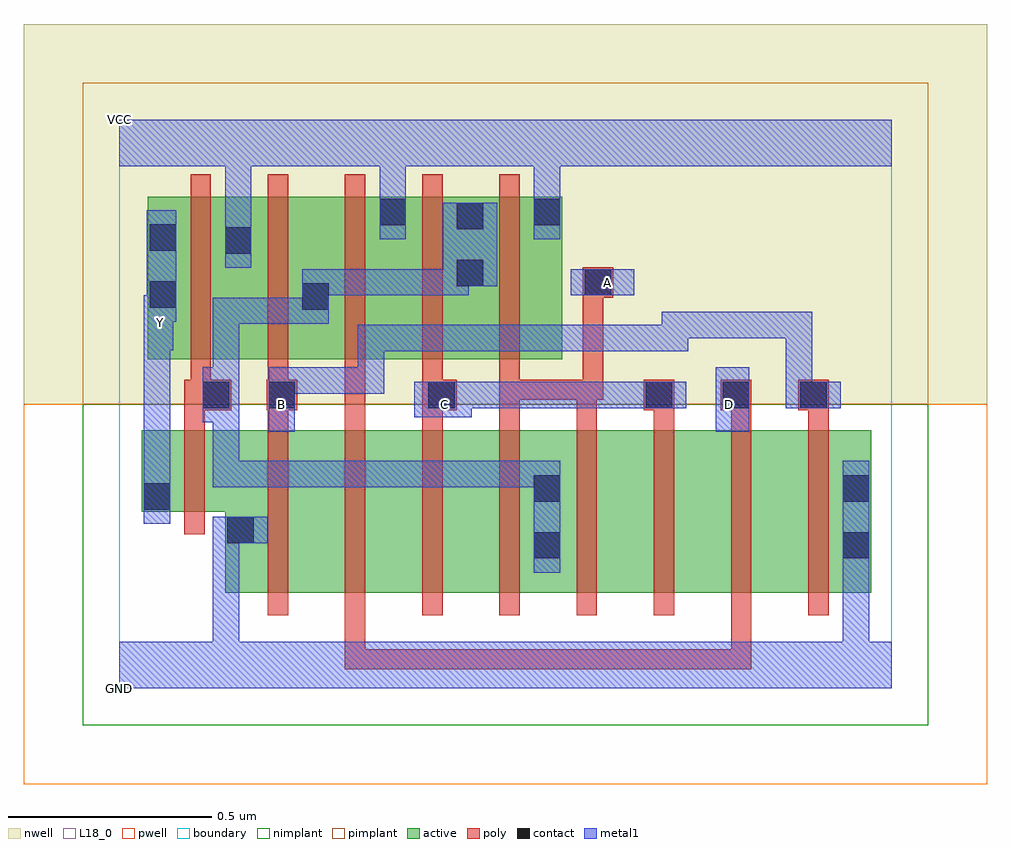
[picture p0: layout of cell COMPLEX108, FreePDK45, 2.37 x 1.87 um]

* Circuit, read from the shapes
.subckt COMPLEX108 A B C D GND VCC Y
M1 GND n1 Y VSUBS nfet w=0.2u l=0.05u
M2 n2 B GND VSUBS nfet w=0.4u l=0.05u
M3 n3 D n2 VSUBS nfet w=0.4u l=0.05u
M4 n4 C n3 VSUBS nfet w=0.4u l=0.05u
M5 n1 A n4 VSUBS nfet w=0.4u l=0.05u
M6 n5 A n1 VSUBS nfet w=0.4u l=0.05u
M7 n6 C n5 VSUBS nfet w=0.4u l=0.05u
M8 n7 D n6 VSUBS nfet w=0.4u l=0.05u
M9 GND B n7 VSUBS nfet w=0.4u l=0.05u
M10 VCC n1 Y n8 pfet w=0.4u l=0.05u
M11 n1 B VCC n8 pfet w=0.4u l=0.05u
M12 VCC D n1 n8 pfet w=0.4u l=0.05u
M13 n1 C VCC n8 pfet w=0.4u l=0.05u
M14 VCC A n1 n8 pfet w=0.4u l=0.05u
.ends

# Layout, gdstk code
import gdstk
lib = gdstk.Library(unit=1e-6, precision=1e-09)
def R(c, l, rs):  # rectangles x0, y0, x1, y1
    for r in rs: c.add(gdstk.rectangle(r[:2], r[2:], *l))
def A(c, l, x, y, w, h, nx, ny, dx, dy):  # array of equal rectangles
    R(c, l, [(x+i*dx, y+j*dy, x+i*dx+w, y+j*dy+h) for i in range(nx) for j in range(ny)])
active = (1, 0)
pwell = (2, 0)
nwell = (3, 0)
nimplant = (4, 0)
pimplant = (5, 0)
poly = (9, 0)
contact = (10, 0)
metal1 = (11, 0)
L18_0 = (18, 0)
boundary = (235, 0)

complex108 = lib.new_cell('COMPLEX108')
A(complex108, active, 0.255, 0.81, 0.265, 0.4, 4, 1, 0.19, 0)
R(complex108, active, [(0.26,0.235,0.485,0.635), (0.26,0.235,0.335,0.597), (0.485,0.235,0.675,0.635), (0.675,0.235,0.865,0.635), (0.865,0.235,1.09,0.635), (1.015,0.235,1.245,0.635), (1.015,0.235,1.09,0.617), (1.245,0.235,1.435,0.635), (1.435,0.235,1.625,0.635), (1.625,0.235,1.85,0.635), (1.775,0.245,1.85,0.635), (0.055,0.435,0.335,0.635), (0.055,0.435,0.13,0.635), (0.07,0.81,0.145,1.2), (0.07,0.81,0.33,1.21), (0.445,0.81,0.52,1.155), (1.015,0.81,1.09,1.21), (0.255,0.907,0.33,1.155), (0.635,0.907,0.71,1.21), (0.825,0.907,0.9,1.2)])
R(complex108, pwell, [(-0.235,-0.235,2.135,0.7)])
R(complex108, nwell, [(-0.235,0.7,2.135,1.635)])
R(complex108, nimplant, [(-0.09,-0.09,1.99,0.7)])
R(complex108, pimplant, [(-0.09,0.7,1.99,1.49)])
A(complex108, poly, 0.365, 0.18, 0.05, 0.51, 8, 1, 0.19, 0)
A(complex108, poly, 1.315, 0.64, 0.05, 0.095, 3, 1, 0.19, 0)
A(complex108, poly, 1.29, 0.685, 0.075, 0.075, 3, 1, 0.19, 0)
A(complex108, poly, 0.175, 0.71, 0.05, 0.095, 5, 1, 0.19, 0)
A(complex108, poly, 0.175, 0.755, 0.05, 0.51, 5, 1, 0.19, 0)
R(complex108, poly, [(0.555,0.047,0.605,0.23), (0.555,0.047,0.605,0.097), (0.555,0.047,0.605,0.097), (0.555,0.047,0.605,0.097), (0.555,0.047,0.83,0.097), (0.78,0.047,0.83,0.097), (0.78,0.047,0.83,0.097), (0.78,0.047,0.83,0.097), (0.78,0.047,0.962,0.097), (0.912,0.047,0.962,0.097), (0.912,0.047,0.962,0.097), (0.912,0.047,0.962,0.097), (0.912,0.047,1.207,0.097), (1.157,0.047,1.207,0.097), (1.157,0.047,1.207,0.097), (1.157,0.047,1.207,0.097), (1.157,0.047,1.397,0.097), (1.347,0.047,1.397,0.097), (1.347,0.047,1.555,0.097), (1.505,0.047,1.555,0.23), (1.505,0.047,1.555,0.097), (1.505,0.047,1.555,0.097), (1.505,0.047,1.555,0.097), (0.16,0.38,0.21,0.69), (0.16,0.64,0.21,0.735), (0.365,0.64,0.415,0.735), (0.555,0.64,0.605,0.76), (0.745,0.64,0.795,0.735), (0.935,0.64,0.985,0.76), (1.125,0.64,1.175,0.76), (0.16,0.685,0.275,0.76), (0.362,0.685,0.437,0.76), (0.745,0.685,0.83,0.76), (0.555,0.71,0.605,0.76), (0.935,0.71,0.985,0.76), (0.935,0.71,0.985,0.76), (0.935,0.71,0.985,0.76), (0.935,0.71,1.175,0.76), (1.125,0.71,1.19,0.76), (1.14,0.71,1.19,1.012), (1.14,0.962,1.215,1.037), (1.14,0.962,1.19,1.012), (1.14,0.962,1.19,1.012)])
A(complex108, contact, 1.295, 0.69, 0.065, 0.065, 3, 1, 0.19, 0)
R(complex108, contact, [(1.02,0.32,1.085,0.385), (1.78,0.32,1.845,0.385), (0.265,0.357,0.33,0.422), (0.06,0.44,0.125,0.505), (1.02,0.46,1.085,0.525), (1.78,0.46,1.845,0.525), (0.205,0.69,0.27,0.755), (0.367,0.69,0.432,0.755), (0.76,0.69,0.825,0.755), (0.45,0.932,0.515,0.997), (0.075,0.937,0.14,1.002), (1.145,0.967,1.21,1.032), (0.83,0.99,0.895,1.055), (0.26,1.07,0.325,1.135), (0.075,1.077,0.14,1.142), (0.83,1.13,0.895,1.195), (0.64,1.14,0.705,1.205), (1.02,1.14,1.085,1.205)])
R(complex108, metal1, [(0,0,1.9,0.115), (0.23,0.05,0.295,0.422), (1.78,0.05,1.845,0.35), (1.78,0.05,1.845,0.115), (1.78,0.05,1.845,0.115), (1.02,0.285,1.085,0.56), (1.78,0.285,1.845,0.56), (0.23,0.357,0.295,0.422), (0.23,0.357,0.295,0.422), (0.23,0.357,0.365,0.422), (0.06,0.405,0.125,0.54), (0.06,0.475,0.125,0.897), (0.23,0.495,0.295,0.56), (0.23,0.495,0.432,0.56), (0.23,0.495,0.295,0.72), (0.367,0.495,0.432,0.56), (0.367,0.495,0.432,0.56), (0.367,0.495,0.432,0.56), (0.367,0.495,0.652,0.56), (0.587,0.495,0.652,0.56), (0.587,0.495,0.652,0.56), (0.587,0.495,0.652,0.56), (0.587,0.495,0.9,0.56), (0.835,0.495,0.9,0.56), (0.835,0.495,0.9,0.56), (0.835,0.495,0.9,0.56), (0.835,0.495,1.037,0.56), (0.972,0.495,1.037,0.56), (0.972,0.495,1.085,0.56), (0.367,0.632,0.432,0.79), (1.467,0.632,1.55,0.79), (0.205,0.655,0.27,0.79), (0.205,0.655,0.295,0.72), (0.23,0.655,0.295,0.72), (0.23,0.655,0.295,0.962), (0.725,0.667,0.867,0.755), (0.802,0.69,0.867,0.755), (0.802,0.69,0.867,0.755), (0.802,0.69,1.037,0.755), (0.972,0.69,1.037,0.755), (0.972,0.69,1.037,0.755), (0.972,0.69,1.037,0.755), (0.972,0.69,1.187,0.755), (1.122,0.69,1.187,0.755), (1.122,0.69,1.187,0.755), (1.122,0.69,1.187,0.755), (1.122,0.69,1.325,0.755), (1.26,0.69,1.395,0.755), (1.64,0.69,1.705,0.755), (1.64,0.69,1.705,0.755), (1.64,0.69,1.775,0.755), (1.64,0.69,1.705,0.927), (0.367,0.725,0.432,0.79), (0.367,0.725,0.432,0.79), (0.367,0.725,0.652,0.79), (0.587,0.725,0.652,0.79), (0.587,0.725,0.652,0.79), (0.587,0.725,0.652,0.79), (0.587,0.725,0.652,0.895), (0.587,0.83,0.652,0.895), (0.587,0.83,0.79,0.895), (0.725,0.83,0.79,0.895), (0.725,0.83,0.79,0.895), (0.725,0.83,0.79,0.895), (0.725,0.83,1.037,0.895), (0.972,0.83,1.037,0.895), (0.972,0.83,1.037,0.895), (0.972,0.83,1.037,0.895), (0.972,0.83,1.175,0.895), (1.11,0.83,1.175,0.895), (1.11,0.83,1.175,0.895), (1.11,0.83,1.175,0.895), (1.11,0.83,1.4,0.895), (1.335,0.83,1.4,0.927), (0.06,0.832,0.132,0.967), (1.335,0.862,1.537,0.927), (1.472,0.862,1.537,0.927), (1.472,0.862,1.537,0.927), (1.472,0.862,1.537,0.927), (1.472,0.862,1.705,0.927), (1.64,0.862,1.705,0.927), (0.23,0.897,0.295,0.962), (0.23,0.897,0.515,0.962), (0.45,0.897,0.515,0.962), (0.45,0.897,0.515,0.962), (0.45,0.897,0.515,1.032), (0.067,0.902,0.132,0.967), (0.067,0.902,0.14,1.177), (0.45,0.967,0.515,1.032), (0.45,0.967,0.515,1.032), (0.45,0.967,0.652,1.032), (0.587,0.967,0.652,1.032), (0.587,0.967,0.652,1.032), (0.587,0.967,0.652,1.032), (0.587,0.967,0.86,1.032), (0.795,0.967,0.86,1.055), (1.11,0.967,1.267,1.032), (0.795,0.99,0.86,1.055), (0.795,0.99,0.93,1.195), (0.26,1.035,0.325,1.17), (0.26,1.105,0.325,1.35), (0.64,1.105,0.705,1.24), (1.02,1.105,1.085,1.24), (0.64,1.175,0.705,1.35), (1.02,1.175,1.085,1.35), (0,1.285,1.9,1.4)])
R(complex108, L18_0, [(0,0,1.9,0.115), (0.23,0.05,0.295,0.422), (1.78,0.05,1.845,0.115), (1.78,0.05,1.845,0.115), (1.78,0.05,1.845,0.35), (1.78,0.285,1.845,0.56), (0.23,0.357,0.295,0.422), (0.23,0.357,0.295,0.422), (0.23,0.357,0.365,0.422), (0.06,0.405,0.125,0.54), (0.06,0.475,0.125,0.897), (0.367,0.632,0.432,0.79), (1.467,0.632,1.55,0.79), (0.367,0.667,0.432,0.732), (0.725,0.667,0.867,0.755), (0.767,0.667,0.832,0.732), (1.467,0.667,1.532,0.732), (0.802,0.69,0.867,0.755), (0.802,0.69,0.867,0.755), (0.802,0.69,1.037,0.755), (0.972,0.69,1.037,0.755), (0.972,0.69,1.037,0.755), (0.972,0.69,1.037,0.755), (0.972,0.69,1.187,0.755), (1.122,0.69,1.187,0.755), (1.122,0.69,1.187,0.755), (1.122,0.69,1.187,0.755), (1.122,0.69,1.325,0.755), (1.26,0.69,1.395,0.755), (1.64,0.69,1.705,0.755), (1.64,0.69,1.705,0.755), (1.64,0.69,1.775,0.755), (1.64,0.69,1.705,0.927), (0.367,0.725,0.432,0.79), (0.367,0.725,0.432,0.79), (0.367,0.725,0.652,0.79), (0.587,0.725,0.652,0.79), (0.587,0.725,0.652,0.79), (0.587,0.725,0.652,0.79), (0.587,0.725,0.652,0.895), (0.587,0.83,0.652,0.895), (0.587,0.83,0.79,0.895), (0.725,0.83,0.79,0.895), (0.725,0.83,0.79,0.895), (0.725,0.83,0.79,0.895), (0.725,0.83,1.037,0.895), (0.972,0.83,1.037,0.895), (0.972,0.83,1.037,0.895), (0.972,0.83,1.037,0.895), (0.972,0.83,1.175,0.895), (1.11,0.83,1.175,0.895), (1.11,0.83,1.175,0.895), (1.11,0.83,1.175,0.895), (1.11,0.83,1.4,0.895), (1.335,0.83,1.4,0.927), (0.06,0.832,0.132,0.967), (1.335,0.862,1.537,0.927), (1.472,0.862,1.537,0.927), (1.472,0.862,1.537,0.927), (1.472,0.862,1.537,0.927), (1.472,0.862,1.705,0.927), (1.64,0.862,1.705,0.927), (0.067,0.867,0.132,0.932), (0.067,0.902,0.14,1.177), (0.067,0.902,0.132,0.967), (1.11,0.967,1.267,1.032), (1.167,0.967,1.232,1.032), (0.26,1.035,0.325,1.17), (0.26,1.105,0.325,1.35), (0.64,1.105,0.705,1.24), (1.02,1.105,1.085,1.24), (0.64,1.175,0.705,1.35), (1.02,1.175,1.085,1.35), (0,1.285,1.9,1.4)])
R(complex108, boundary, [(0,0,1.9,1.4)])
complex108.add(gdstk.Label('A', (1.2,1), layer=11, texttype=0))
complex108.add(gdstk.Label('B', (0.4,0.7), layer=11, texttype=0))
complex108.add(gdstk.Label('C', (0.8,0.7), layer=11, texttype=0))
complex108.add(gdstk.Label('D', (1.5,0.7), layer=11, texttype=0))
complex108.add(gdstk.Label('Y', (0.1,0.9), layer=11, texttype=0))
complex108.add(gdstk.Label('VCC', (0,1.4), layer=11, texttype=0))
complex108.add(gdstk.Label('GND', (0,0), layer=11, texttype=0))

lib.write_gds('COMPLEX108.gds')
